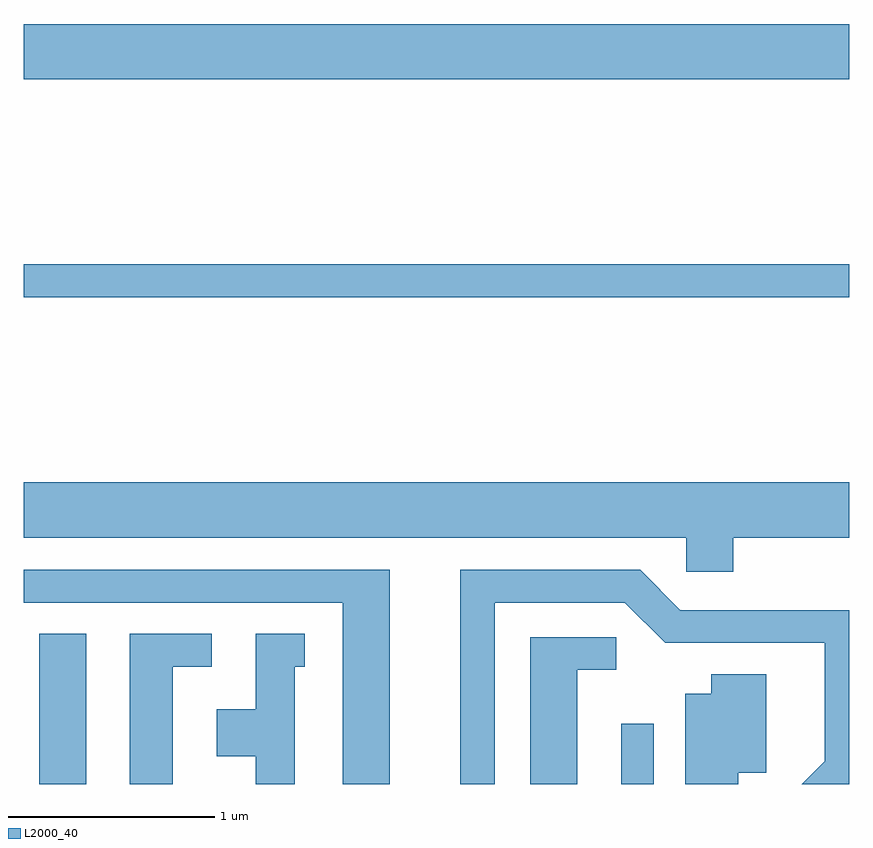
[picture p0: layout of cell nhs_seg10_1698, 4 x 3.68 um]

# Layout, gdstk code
import gdstk
lib = gdstk.Library(unit=1e-6, precision=1e-09)
def R(c, l, rs):  # rectangles x0, y0, x1, y1
    for r in rs: c.add(gdstk.rectangle(r[:2], r[2:], *l))
def P(c, l, *ps):  # polygons
    for p in ps: c.add(gdstk.Polygon(p, *l))
L2000_40 = (2000, 40)

nhs_seg10_1698 = lib.new_cell('nhs_seg10_1698')
R(nhs_seg10_1698, L2000_40, [(235.686,2090.522,235.914,2091.249), (238.506,2090.522,238.664,2090.813), (235.611,2092.881,239.611,2093.039), (235.611,2093.936,239.611,2094.204)])
P(nhs_seg10_1698, L2000_40, [(239.049,2091.716),(239.611,2091.716),(239.611,2091.984),(235.611,2091.984),(235.611,2091.716),(238.821,2091.716),(238.821,2091.551),(239.049,2091.551)],
  [(237.894,2091.401),(238.524,2091.401),(238.719,2091.206),(239.491,2091.206),(239.491,2090.632),(239.381,2090.522),(239.611,2090.522),(239.611,2091.364),(238.792,2091.364),(238.597,2091.559),(237.726,2091.559),(237.726,2090.522),(237.894,2090.522)],
  [(237.384,2091.559),(235.611,2091.559),(235.611,2091.401),(237.156,2091.401),(237.156,2090.522),(237.384,2090.522)],
  [(236.334,2091.091),(236.523,2091.091),(236.523,2091.249),(236.126,2091.249),(236.126,2090.522),(236.334,2090.522)],
  [(236.924,2091.091),(236.973,2091.091),(236.973,2091.249),(236.736,2091.249),(236.736,2090.884),(236.546,2090.884),(236.546,2090.656),(236.736,2090.656),(236.736,2090.522),(236.924,2090.522)],
  [(238.294,2091.076),(238.483,2091.076),(238.483,2091.234),(238.066,2091.234),(238.066,2090.522),(238.294,2090.522)],
  [(239.074,2090.576),(239.209,2090.576),(239.209,2091.054),(238.941,2091.054),(238.941,2090.959),(238.816,2090.959),(238.816,2090.522),(239.074,2090.522)])

lib.write_gds('nhs_seg10_1698.gds')
